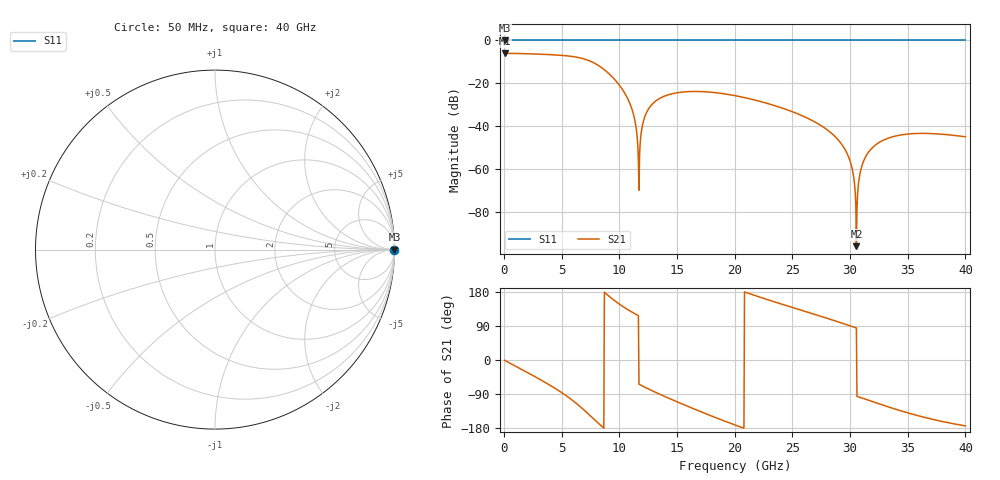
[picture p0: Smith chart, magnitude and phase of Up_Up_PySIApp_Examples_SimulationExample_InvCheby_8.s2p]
# MHz MA S R 50.0
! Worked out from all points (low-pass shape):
!   800 points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, 50 MHz to 40 GHz, reference 50 ohm
!   highest |S21| = -6.02 dB at 50 MHz (marker M1); lowest = -95.9 dB at 30.55 GHz (marker M2)
!   |S21| within 3 dB of the highest: start of sweep to 7.171 GHz
!   lowest |S11| = 0.0 dB at 50 MHz (marker M3)
!   |S11| at or under -10 dB: nowhere
!   S12 and S22 are empty: the file has one direction only
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50  1 -0.0  0.5 -0.8  0 0.0  0 0.0
4000  1 -0.0  0.4664 -66.8  0 0.0  0 0.0
6750  1 0.0  0.3831 -126.9  0 0.0  0 0.0
8650  1 0.0  0.2127 -179.9  0 0.0  0 0.0
10350  1 0.0  0.06638 140.3  0 0.0  0 0.0
11150  1 0.0  0.02228 125.4  0 0.0  0 0.0
11400  1 0.0  0.01132 121.1  0 0.0  0 0.0
11550  1 0.0  0.005306 118.6  0 0.0  0 0.0
11700  1 0.0  0.000322 -63.8  0 0.0  0 0.0
12300  1 -0.0  0.01938 -73.2  0 0.0  0 0.0
13400  1 -0.0  0.04307 -89.0  0 0.0  0 0.0
16050  1 -0.0  0.06431 -123.8  0 0.0  0 0.0
20050  1 -0.0  0.05152 -171.7  0 0.0  0 0.0
26700  1 0.0  0.01367 122.7  0 0.0  0 0.0
29500  1 0.0  0.003074 95.3  0 0.0  0 0.0
30100  1 0.0  0.001261 89.2  0 0.0  0 0.0
30550  1 -0.0  1.6e-05 84.6  0 0.0  0 0.0
30700  1 0.0  0.000377 -97.0  0 0.0  0 0.0
31000  1 -0.0  0.001127 -100.1  0 0.0  0 0.0
31400  1 0.0  0.002053 -104.3  0 0.0  0 0.0
33350  1 -0.0  0.005325 -124.1  0 0.0  0 0.0
40000  1 0.0  0.005683 -173.9  0 0.0  0 0.0
